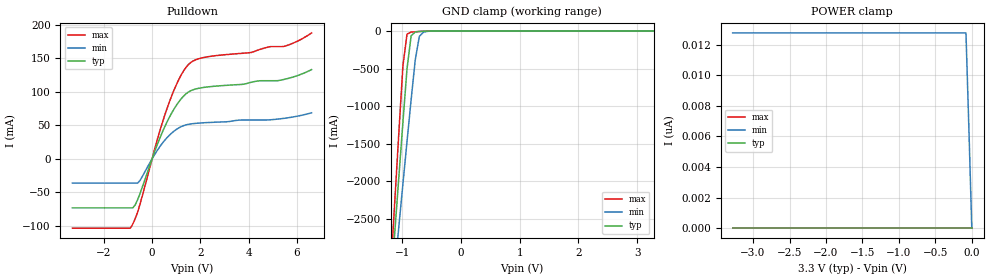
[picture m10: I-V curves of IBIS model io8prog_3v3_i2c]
| [Disclaimer]  This information is for modeling purpose only and is
| not guaranted. The information is subject to change without
| notice.
| [Copyright] Copyright 2013 STMicroelectronics Inc.
| From stm32c011_11111111tssop20.ibs, stm32c0_tssop20, STMicroelectronics
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|   Model io8prog_3v3_i2c
[Model]  io8prog_3v3_i2c
Model_type I/O_open_drain
Polarity   Non-Inverting
Enable   Active-Low
Vinl =   0.540000V
Vinh =   1.260000V
Vmeas =  0.900000V
Cref =   100.000000nF
Rref =   1.000000k
Vref =   1.800000V
C_comp   2.266800pF   2.233100pF   2.322300pF
[Temperature Range]   25.000000   0.125000k   -40.000000
[Pullup Reference]   3.300000V   2.700000V   3.600000V
[Pulldown Reference]   0.0V   0.0V   0.0V
[POWER Clamp Reference]   3.300000V   2.700000V   3.600000V
[GND Clamp Reference]   0.0V   0.0V   0.0V
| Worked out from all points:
|   slope of the pulldown table from 0 to 0.495 V, typ, clamps not added: 10.9 ohm
|   GND clamp passes 1 mA (typ) near -0.58 V on its own axis
[Pulldown]
|Voltage   I(typ)   I(min)   I(max)
-3.3V     -73.21mA   -36.24mA   -103.5mA
-900mV    -73.21mA   -36.24mA   -103.5mA
-700mV    -68.71mA   -36.24mA   -89.31mA
-500mV    -51.77mA   -32.35mA   -67.62mA
200mV     19.89mA    11.8mA     26.78mA
700mV     60.97mA    34.63mA    83.5mA
1.2V      89.46mA    47.98mA    125mA
1.6V      101.6mA    52.06mA    143.7mA
2.3V      107.3mA    54.12mA    152.3mA
4.1V      114.2mA    57.92mA    158.7mA
5.5V      118.8mA    60.6mA     168.1mA
6.6V      133.1mA    68.66mA    188mA
[GND_clamp]
|Voltage   I(typ)   I(min)   I(max)
-3.3V     -9.456A    -9.706A    -9.779A
-1.2V     -3.441A    -3.76A     -3.218A
-1.13V    -2.694A    -3.182A    -2.288A
-1.06V    -1.951A    -2.607A    -1.365A
-990mV    -1.216A    -2.035A    -464.9mA
-920mV    -500mA     -1.468A    -40.15mA
-850mV    -63.51mA   -913mA     -13.79mA
-780mV    -11.84mA   -384.3mA   -8.858mA
-710mV    -4.78mA    -70.26mA   -5.228mA
-640mV    -2.25mA    -14.29mA   -2.447mA
-430mV    -27.1uA    -149uA     -11.19uA
3.28V     0A         0A         0A
[POWER_clamp]
|Voltage   I(typ)   I(min)   I(max)
-3.28V    0A         12.77nA    0A
-80mV     0A         12.77nA    0A
-40mV     0A         6.549nA    0A
0V        0A         0A         0A
[Ramp]
| variable   typ   min   max
dV/dt_r  1.618/6.00000u   1.141/6.00000u   1.863/6.00000u
dV/dt_f  1.61840/6.00000u   1.14067/6.00000u   1.86266/6.00000u
R_load = 50.000000
|End [Model] io8prog_3v3_i2c
